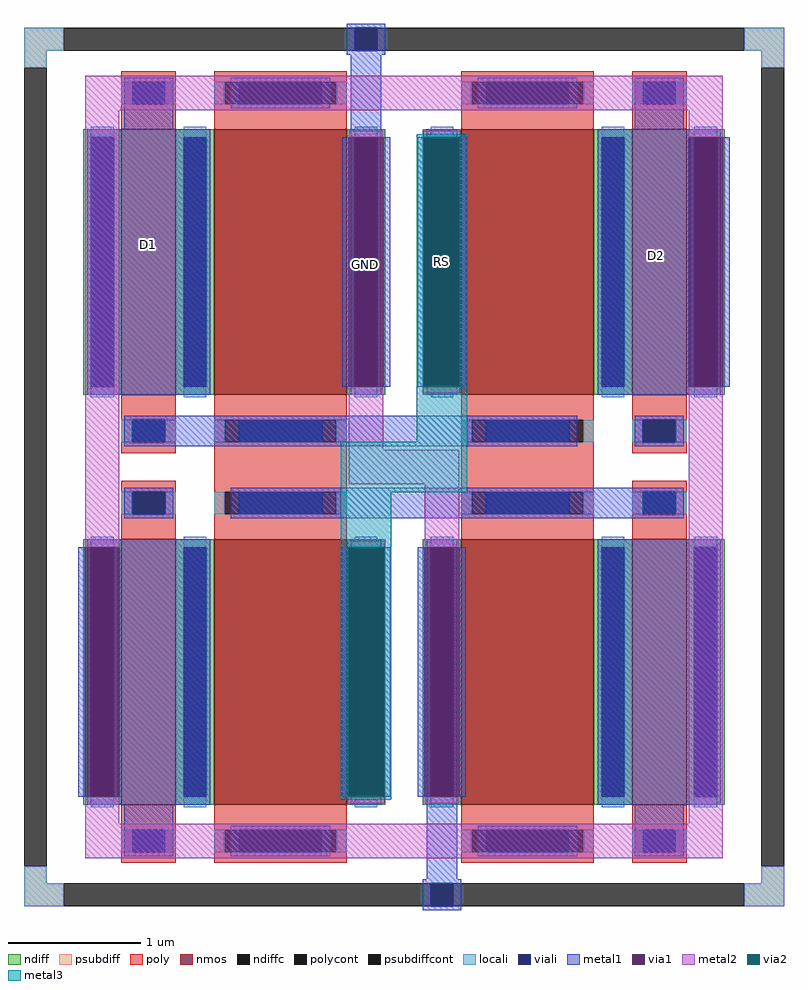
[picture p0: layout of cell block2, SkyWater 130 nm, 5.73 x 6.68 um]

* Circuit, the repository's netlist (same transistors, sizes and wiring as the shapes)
** sch_path: /home/mtfirmansyah/ic_projects/opamp/block2/lvs/block2.sch
.subckt block2 RS D1 D2 GND
*.PININFO RS:B D1:B D2:B GND:B
XM3 D1 D1 GND GND sky130_fd_pr__nfet_01v8 L=1 W=2 nf=1 m=2
XM4 D2 D1 RS GND sky130_fd_pr__nfet_01v8 L=1 W=2 nf=1 m=2
XM1 D1 D1 D1 GND sky130_fd_pr__nfet_01v8 L=0.41 W=2 nf=1 m=2
XM2 D2 D2 D2 GND sky130_fd_pr__nfet_01v8 L=0.41 W=2 nf=1 m=2
.ends
.end

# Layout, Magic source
magic
tech sky130A
magscale 1 2
<< psubdiff >>
rect -229 1225 -169 1259
rect 857 1225 917 1259
rect -229 1199 -195 1225
rect 883 1199 917 1225
rect -229 -31 -195 -5
rect 883 -31 917 -5
rect -229 -65 -169 -31
rect 857 -65 917 -31
<< psubdiffcont >>
rect -169 1225 857 1259
rect -229 -5 -195 1199
rect 883 -5 917 1199
rect -169 -65 857 -31
<< poly >>
rect 58 0 258 1194
rect 430 0 630 1194
<< locali >>
rect -229 1225 -169 1259
rect 857 1225 917 1259
rect -229 1199 -195 1225
rect -229 -31 -195 -5
rect 883 1199 917 1225
rect 883 -31 917 -5
rect -229 -65 -169 -31
rect 857 -65 917 -31
<< viali >>
rect 270 1225 304 1259
rect 384 -65 418 -31
<< metal1 >>
rect 258 1259 316 1265
rect 258 1225 270 1259
rect 304 1225 316 1259
rect 258 1219 316 1225
rect -78 1106 -4 1184
rect 264 1106 310 1219
rect 692 1106 766 1184
rect -134 706 52 1106
rect 636 1094 822 1106
rect 251 718 261 1094
rect 313 718 323 1094
rect 365 718 375 1094
rect 427 718 437 1094
rect 636 718 773 1094
rect 825 718 835 1094
rect 636 706 822 718
rect -78 628 605 674
rect 83 520 766 566
rect -134 476 52 488
rect -147 100 -137 476
rect -85 100 52 476
rect 251 100 261 476
rect 313 100 323 476
rect 365 100 375 476
rect 427 100 437 476
rect -134 88 52 100
rect 636 88 822 488
rect -78 10 -4 88
rect 378 -25 424 88
rect 692 10 766 88
rect 372 -31 430 -25
rect 372 -65 384 -31
rect 418 -65 430 -31
rect 372 -71 430 -65
<< via1 >>
rect 261 718 313 1094
rect 375 718 427 1094
rect 773 718 825 1094
rect -137 100 -85 476
rect 261 100 313 476
rect 375 100 427 476
<< metal2 >>
rect -137 1135 825 1187
rect -137 476 -85 1135
rect 261 1094 313 1104
rect 261 623 313 718
rect 373 1094 429 1104
rect 373 708 429 718
rect 773 1094 825 1135
rect 261 571 427 623
rect -137 59 -85 100
rect 259 476 315 486
rect 259 90 315 100
rect 375 476 427 571
rect 375 90 427 100
rect 773 59 825 718
rect -137 7 825 59
<< via2 >>
rect 373 718 375 1094
rect 375 718 427 1094
rect 427 718 429 1094
rect 259 100 261 476
rect 261 100 313 476
rect 313 100 315 476
<< metal3 >>
rect 363 1094 439 1099
rect 363 718 373 1094
rect 429 718 439 1094
rect 363 635 439 718
rect 249 559 439 635
rect 249 476 325 559
rect 249 100 259 476
rect 315 100 325 476
rect 249 95 325 100
use sky130_fd_pr__nfet_01v8_46AL6M  sky130_fd_pr__nfet_01v8_46AL6M_0
transform 1 0 344 0 1 597
box -344 -597 344 597
use sky130_fd_pr__nfet_01v8_MU6LND  sky130_fd_pr__nfet_01v8_MU6LND_0
transform 1 0 -41 0 1 597
box -99 -597 99 597
use sky130_fd_pr__nfet_01v8_MU6LND  sky130_fd_pr__nfet_01v8_MU6LND_1
transform 1 0 729 0 1 597
box -99 -597 99 597
<< labels >>
flabel metal1 -42 933 -42 933 0 FreeSans 160 0 0 0 D1
port 1 nsew
flabel via1 400 907 400 907 0 FreeSans 160 0 0 0 RS
port 4 nsew
flabel metal1 724 916 724 916 0 FreeSans 160 0 0 0 D2
port 2 nsew
flabel via1 286 902 286 902 0 FreeSans 160 0 0 0 GND
port 0 nsew
<< end >>

# cell sky130_fd_pr__nfet_01v8_46AL6M: kit device sky130_fd_pr__nfet_01v8, w 2 l 1 m 2 nf 2 diffcov 100 polycov 100 guard 0 glc 1 grc 1 gtc 1 gbc 1 tbcov 100 rlcov 100 topc 1 botc 1 poverlap 0 doverlap 0 lmin 0.15 wmin 0.42 compatible {sky130_fd_pr__nfet_01v8 sky130_fd_pr__nfet_01v8_lvt sky130_fd_bs_flash__special_sonosfet_star sky130_fd_pr__nfet_g5v0d10v5 sky130_fd_pr__nfet_05v0_nvt sky130_fd_pr__nfet_03v3_nvt} full_metal 1 viasrc 100 viadrn 100 viagate 75 viagb 0 viagr 0 viagl 0 viagt 0

# cell sky130_fd_pr__nfet_01v8_MU6LND: kit device sky130_fd_pr__nfet_01v8, w 2 l 0.41 m 2 nf 1 diffcov 100 polycov 100 guard 0 glc 1 grc 1 gtc 1 gbc 1 tbcov 100 rlcov 100 topc 1 botc 1 poverlap 0 doverlap 1 lmin 0.15 wmin 0.42 compatible {sky130_fd_pr__nfet_01v8 sky130_fd_pr__nfet_01v8_lvt sky130_fd_bs_flash__special_sonosfet_star sky130_fd_pr__nfet_g5v0d10v5 sky130_fd_pr__nfet_05v0_nvt sky130_fd_pr__nfet_03v3_nvt} full_metal 1 viasrc 100 viadrn 100 viagate 100 viagb 0 viagr 0 viagl 0 viagt 0
